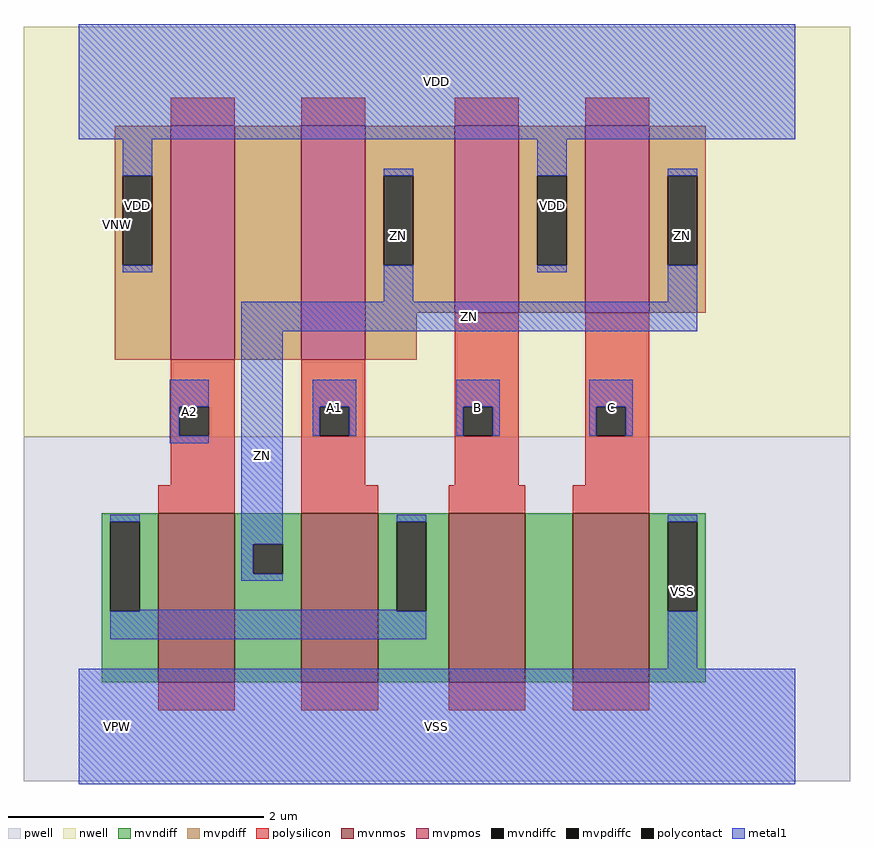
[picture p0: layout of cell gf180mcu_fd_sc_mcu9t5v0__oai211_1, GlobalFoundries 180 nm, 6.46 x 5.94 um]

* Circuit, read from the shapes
.subckt gf180mcu_fd_sc_mcu9t5v0__oai211_1 A1 A2 B C ZN VDD VNW VPW VSS
XM1 ZN A2 n1 VPW nfet_06v0 w=1.32u l=0.6u
XM2 n1 A1 ZN VPW nfet_06v0 w=1.32u l=0.6u
XM3 n2 B n1 VPW nfet_06v0 w=1.32u l=0.6u
XM4 VSS C n2 VPW nfet_06v0 w=1.32u l=0.6u
XM5 n3 A2 VDD VNW pfet_06v0 w=1.83u l=0.5u
XM6 ZN A1 n3 VNW pfet_06v0 w=1.83u l=0.5u
XM7 VDD B ZN VNW pfet_06v0 w=1.46u l=0.5u
XM8 ZN C VDD VNW pfet_06v0 w=1.46u l=0.5u
.ends

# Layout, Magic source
magic
tech gf180mcuD
magscale 1 10
<< nwell >>
rect -86 453 1206 1094
<< pwell >>
rect -86 -86 1206 453
<< mvnmos >>
rect 124 69 244 333
rect 348 69 468 333
rect 578 69 698 333
rect 772 69 892 333
<< mvpmos >>
rect 144 573 244 939
rect 348 573 448 939
rect 588 647 688 939
rect 792 647 892 939
<< mvndiff >>
rect 36 320 124 333
rect 36 180 49 320
rect 95 180 124 320
rect 36 69 124 180
rect 244 285 348 333
rect 244 239 273 285
rect 319 239 348 285
rect 244 69 348 239
rect 468 320 578 333
rect 468 180 497 320
rect 543 180 578 320
rect 468 69 578 180
rect 698 69 772 333
rect 892 320 980 333
rect 892 180 921 320
rect 967 180 980 320
rect 892 69 980 180
<< mvpdiff >>
rect 56 861 144 939
rect 56 721 69 861
rect 115 721 144 861
rect 56 573 144 721
rect 244 573 348 939
rect 448 861 588 939
rect 448 721 477 861
rect 523 721 588 861
rect 448 647 588 721
rect 688 861 792 939
rect 688 721 717 861
rect 763 721 792 861
rect 688 647 792 721
rect 892 861 980 939
rect 892 721 921 861
rect 967 721 980 861
rect 892 647 980 721
rect 448 573 528 647
<< mvndiffc >>
rect 49 180 95 320
rect 273 239 319 285
rect 497 180 543 320
rect 921 180 967 320
<< mvpdiffc >>
rect 69 721 115 861
rect 477 721 523 861
rect 717 721 763 861
rect 921 721 967 861
<< polysilicon >>
rect 144 939 244 983
rect 348 939 448 983
rect 588 939 688 983
rect 792 939 892 983
rect 144 500 244 573
rect 144 454 157 500
rect 203 454 244 500
rect 144 377 244 454
rect 124 333 244 377
rect 348 500 448 573
rect 348 454 377 500
rect 423 454 448 500
rect 348 377 448 454
rect 588 500 688 647
rect 588 454 601 500
rect 647 454 688 500
rect 588 377 688 454
rect 792 500 892 647
rect 792 454 809 500
rect 855 454 892 500
rect 792 377 892 454
rect 348 333 468 377
rect 578 333 698 377
rect 772 333 892 377
rect 124 25 244 69
rect 348 25 468 69
rect 578 25 698 69
rect 772 25 892 69
<< polycontact >>
rect 157 454 203 500
rect 377 454 423 500
rect 601 454 647 500
rect 809 454 855 500
<< metal1 >>
rect 0 918 1120 1098
rect 69 861 115 918
rect 69 710 115 721
rect 477 861 523 872
rect 477 664 523 721
rect 717 861 763 918
rect 717 710 763 721
rect 921 861 967 872
rect 921 664 967 721
rect 254 618 967 664
rect 142 500 203 542
rect 142 454 157 500
rect 142 443 203 454
rect 49 320 95 331
rect 254 285 319 618
rect 366 500 434 542
rect 366 454 377 500
rect 423 454 434 500
rect 590 500 658 542
rect 590 454 601 500
rect 647 454 658 500
rect 798 500 866 542
rect 798 454 809 500
rect 855 454 866 500
rect 254 239 273 285
rect 254 228 319 239
rect 497 320 543 331
rect 95 180 497 182
rect 49 136 543 180
rect 921 320 967 331
rect 921 90 967 180
rect 0 -90 1120 90
<< labels >>
flabel metal1 s 366 454 434 542 0 FreeSans 200 0 0 0 A1
port 1 nsew default input
flabel metal1 s 142 443 203 542 0 FreeSans 200 0 0 0 A2
port 2 nsew default input
flabel metal1 s 590 454 658 542 0 FreeSans 200 0 0 0 B
port 3 nsew default input
flabel metal1 s 798 454 866 542 0 FreeSans 200 0 0 0 C
port 4 nsew default input
flabel metal1 s 0 918 1120 1098 0 FreeSans 200 0 0 0 VDD
port 6 nsew power bidirectional abutment
flabel metal1 s 921 90 967 331 0 FreeSans 200 0 0 0 VSS
port 9 nsew ground bidirectional abutment
flabel metal1 s 921 664 967 872 0 FreeSans 200 0 0 0 ZN
port 5 nsew default output
flabel nwell s 10 734 110 834 0 FreeSans 400 0 0 0 VNW
port 7 nsew power bidirectional
flabel pwell s 10 -50 110 50 0 FreeSans 400 0 0 0 VPW
port 8 nsew ground bidirectional
rlabel metal1 s 477 664 523 872 1 ZN
port 5 nsew default output
rlabel metal1 s 254 618 967 664 1 ZN
port 5 nsew default output
rlabel metal1 s 254 228 319 618 1 ZN
port 5 nsew default output
rlabel metal1 s 717 710 763 918 1 VDD
port 6 nsew power bidirectional abutment
rlabel metal1 s 69 710 115 918 1 VDD
port 6 nsew power bidirectional abutment
rlabel metal1 s 0 -90 1120 90 1 VSS
port 9 nsew ground bidirectional abutment
<< properties >>
string FIXED_BBOX 0 0 1120 1008
string GDS_END 207346
string GDS_FILE $PDKPATH/libs.ref/gf180mcu_fd_sc_mcu9t5v0/gds/gf180mcu_fd_sc_mcu9t5v0.gds
string GDS_START 203602
string LEFclass core
string LEFsite GF018hv5v_green_sc9
string LEFsymmetry X Y
<< end >>
